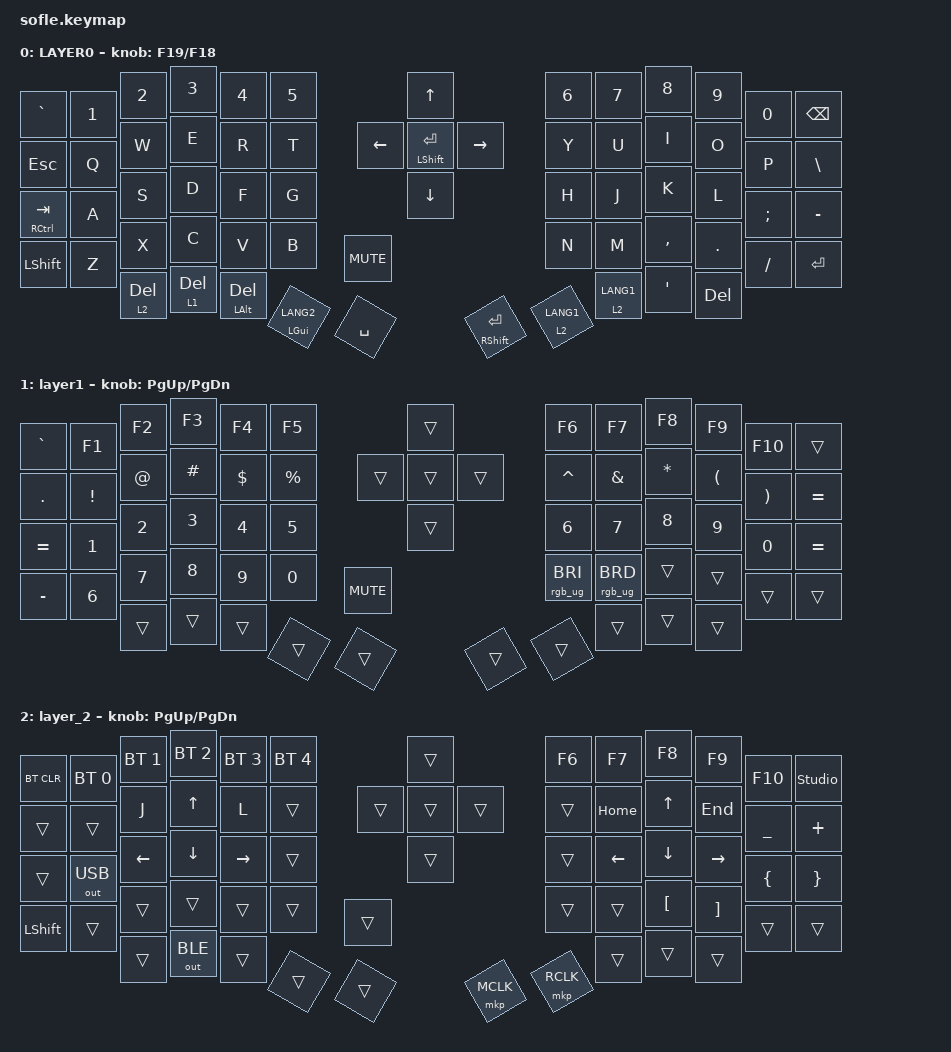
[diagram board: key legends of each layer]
#include <behaviors/mouse_keys.dtsi>
#include <dt-bindings/zmk/mouse.h>
#include <behaviors.dtsi>
#include <dt-bindings/zmk/bt.h>
#include <dt-bindings/zmk/keys.h>
#include <dt-bindings/zmk/outputs.h>
#include <dt-bindings/zmk/pointing.h>
#include <dt-bindings/zmk/rgb.h>

#define ZMK_MOUSE_DEFAULT_MOVE_VAL 1200  //  600
#define ZMK_MOUSE_DEFAULT_SCRL_VAL 20    // 10

/ {
    combos {
        compatible = "zmk,combos";

        dfDEL {
            bindings = <&kp DELETE>;
            key-positions = <29 30>;
        };

        BTCLRALL {
            bindings = <&bt BT_CLR_ALL>;
            key-positions = <0 44>;
        };
    };

    keymap {
        compatible = "zmk,keymap";

        layer0 {
            bindings = <
&kp GRAVE              &kp N1     &kp N2        &kp N3               &kp N4              &kp N5       &kp UP_ARROW      &kp N6                 &kp N7       &kp N8       &kp N9    &kp N0      &kp BACKSPACE
&kp ESC                &kp Q      &kp W         &kp E                &kp R               &kp T        &kp DOWN_ARROW    &kp Y                  &kp U        &kp I        &kp O     &kp P       &kp BSLH
&mt RIGHT_CONTROL TAB  &kp A      &kp S         &kp D                &kp F               &kp G        &kp LEFT_ARROW    &kp H                  &kp J        &kp K        &kp L     &kp SEMI    &kp MINUS
&kp LSHFT              &kp Z      &kp X         &kp C                &kp V               &kp B        &kp RIGHT_ARROW   &kp N                  &kp M        &kp COMMA    &kp DOT   &kp FSLH    &kp ENTER
&kp C_MUTE             &lt 2 DEL  &lt 1 DELETE  &mt LEFT_ALT DELETE  &mt LEFT_GUI LANG2  &kp SPACE    &mt LSHIFT ENTER  &mt RIGHT_SHIFT ENTER  &lt 2 LANG1  &lt 2 LANG1  &kp APOS  &kp DELETE
            >;

            sensor-bindings = <&inc_dec_kp F19 F18>;
            display-name = "LAYER0";
        };

        layer_1 {
            bindings = <
&kp GRAVE   &kp F1    &kp F2  &kp F3    &kp F4    &kp F5       &trans  &kp F6           &kp F7           &kp F8    &kp F9    &kp F10   &trans
&kp DOT     &kp EXCL  &kp AT  &kp HASH  &kp DLLR  &kp PRCNT    &trans  &kp CARET        &kp AMPS         &kp STAR  &kp LPAR  &kp RPAR  &kp EQUAL
&kp EQUAL   &kp N1    &kp N2  &kp N3    &kp N4    &kp N5       &trans  &kp N6           &kp N7           &kp N8    &kp N9    &kp N0    &kp EQUAL
&kp MINUS   &kp N6    &kp N7  &kp N8    &kp N9    &kp N0       &trans  &rgb_ug RGB_BRI  &rgb_ug RGB_BRD  &trans    &trans    &trans    &trans
&kp C_MUTE  &trans    &trans  &trans    &trans    &trans       &trans  &trans           &trans           &trans    &trans    &trans
            >;

            display-name = "layer1";
            sensor-bindings = <&inc_dec_kp PG_UP PG_DN>;
        };

        layer_2 {
            bindings = <
&bt BT_CLR      &bt BT_SEL 0  &bt BT_SEL 1  &bt BT_SEL 2  &bt BT_SEL 3  &bt BT_SEL 4    &trans  &kp F6     &kp F7     &kp F8            &kp F9             &kp F10    &studio_unlock
&trans          &trans        &kp J         &kp UP        &kp L         &trans          &trans  &trans     &kp HOME   &kp UP            &kp END            &kp UNDER  &kp PLUS
&trans          &out OUT_USB  &kp LEFT      &kp DOWN      &kp RIGHT     &trans          &trans  &trans     &kp LEFT   &kp DOWN          &kp RIGHT          &kp LBRC   &kp RBRC
&kp LEFT_SHIFT  &trans        &trans        &trans        &trans        &trans          &trans  &trans     &trans     &kp LEFT_BRACKET  &kp RIGHT_BRACKET  &trans     &trans
&trans          &trans        &out OUT_BLE  &trans        &trans        &trans          &trans  &mkp MCLK  &mkp RCLK  &trans            &trans             &trans
            >;

            sensor-bindings = <&inc_dec_kp PG_UP PG_DN>;
        };
    };
};
